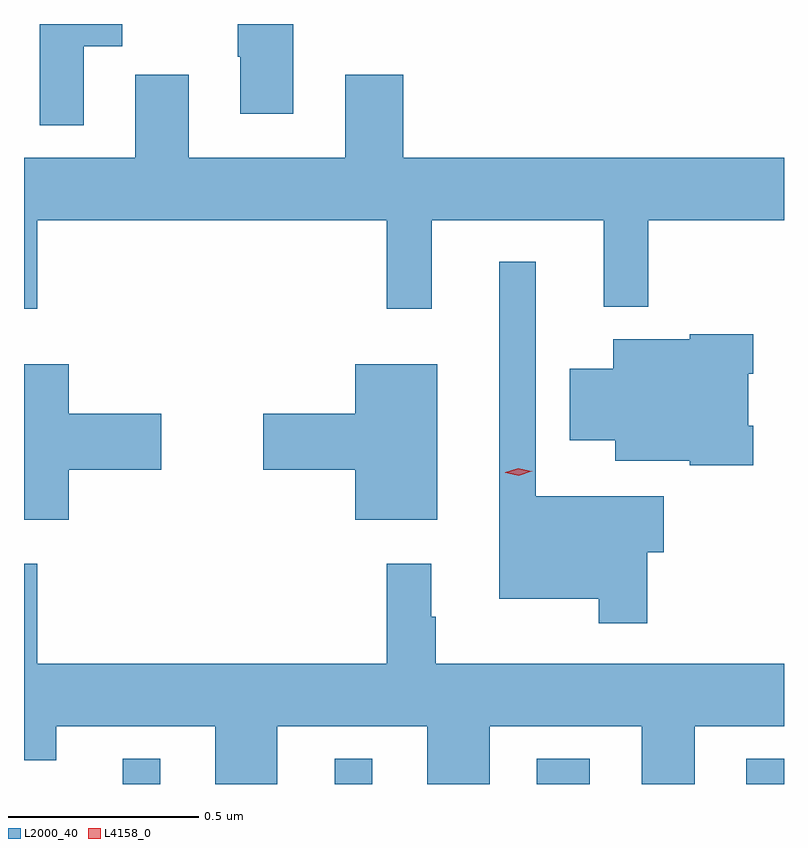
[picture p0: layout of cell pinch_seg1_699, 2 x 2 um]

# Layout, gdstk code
import gdstk
lib = gdstk.Library(unit=1e-6, precision=1e-09)
def R(c, l, rs):  # rectangles x0, y0, x1, y1
    for r in rs: c.add(gdstk.rectangle(r[:2], r[2:], *l))
def P(c, l, *ps):  # polygons
    for p in ps: c.add(gdstk.Polygon(p, *l))
L2000_40 = (2000, 40)
L4158_0 = (4158, 0)

pinch_seg1_699 = lib.new_cell('pinch_seg1_699')
R(pinch_seg1_699, L2000_40, [(650.258,570.228,650.356,570.295), (650.816,570.228,650.914,570.295), (651.347,570.228,651.487,570.295), (651.899,570.228,651.998,570.295)])
P(pinch_seg1_699, L2000_40, [(650.707,572.228),(650.56,572.228),(650.56,572.142),(650.567,572.142),(650.567,571.992),(650.707,571.992)],
  [(650.155,572.17),(650.257,572.17),(650.257,572.228),(650.039,572.228),(650.039,571.962),(650.155,571.962)],
  [(650.033,571.712),(650.953,571.712),(650.953,571.479),(651.071,571.479),(651.071,571.712),(651.524,571.712),(651.524,571.484),(651.641,571.484),(651.641,571.712),(651.998,571.712),(651.998,571.876),(650.996,571.876),(650.996,572.095),(650.843,572.095),(650.843,571.876),(650.431,571.876),(650.431,572.095),(650.291,572.095),(650.291,571.876),(649.998,571.876),(649.998,571.479),(650.033,571.479)],
  [(651.638,570.838),(651.682,570.838),(651.682,570.985),(651.345,570.985),(651.345,571.603),(651.248,571.603),(651.248,570.716),(651.51,570.716),(651.51,570.651),(651.638,570.651)],
  [(651.917,571.171),(651.904,571.171),(651.904,571.307),(651.917,571.307),(651.917,571.411),(651.75,571.411),(651.75,571.399),(651.548,571.399),(651.548,571.321),(651.434,571.321),(651.434,571.133),(651.554,571.133),(651.554,571.079),(651.75,571.079),(651.75,571.067),(651.917,571.067)],
  [(650.116,571.055),(650.359,571.055),(650.359,571.202),(650.116,571.202),(650.116,571.333),(649.998,571.333),(649.998,570.923),(650.116,570.923)],
  [(651.085,571.333),(650.87,571.333),(650.87,571.202),(650.628,571.202),(650.628,571.055),(650.87,571.055),(650.87,570.923),(651.085,570.923)],
  [(650.953,570.808),(650.953,570.544),(650.033,570.544),(650.033,570.808),(649.998,570.808),(649.998,570.29),(650.083,570.29),(650.083,570.38),(650.501,570.38),(650.501,570.228),(650.665,570.228),(650.665,570.38),(651.059,570.38),(651.059,570.228),(651.223,570.228),(651.223,570.38),(651.623,570.38),(651.623,570.228),(651.763,570.228),(651.763,570.38),(651.998,570.38),(651.998,570.544),(651.082,570.544),(651.082,570.668),(651.07,570.668),(651.07,570.808)])
P(pinch_seg1_699, L4158_0, [(651.3,571.039),(651.264,571.047),(651.264,571.048),(651.264,571.048),(651.299,571.059),(651.334,571.051),(651.335,571.051),(651.334,571.051)])

lib.write_gds('pinch_seg1_699.gds')
